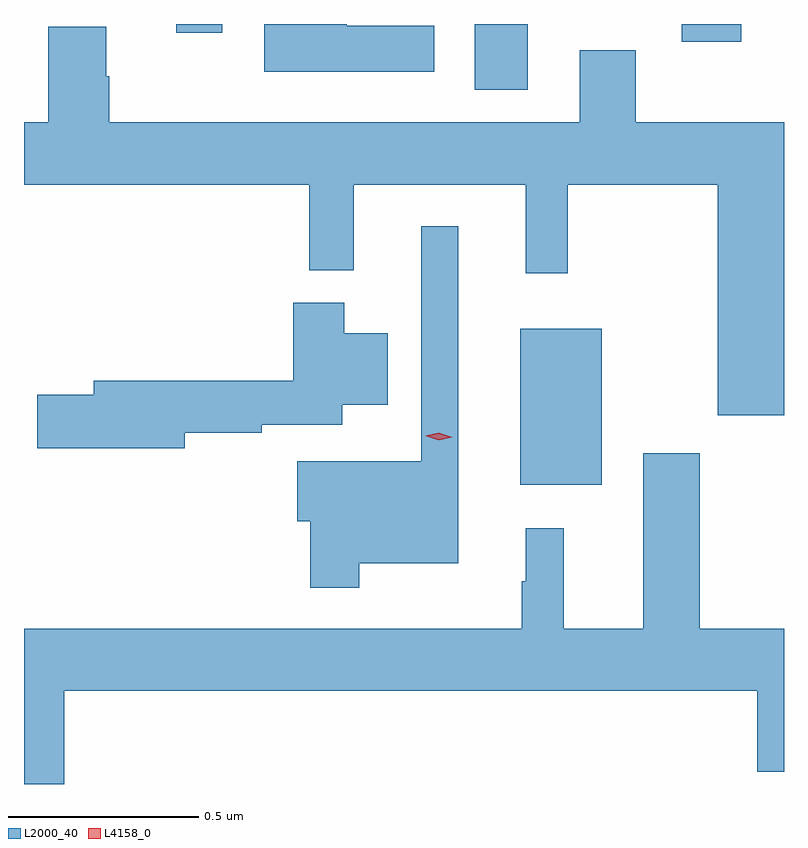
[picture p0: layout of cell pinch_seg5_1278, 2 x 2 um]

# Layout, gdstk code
import gdstk
lib = gdstk.Library(unit=1e-6, precision=1e-09)
def R(c, l, rs):  # rectangles x0, y0, x1, y1
    for r in rs: c.add(gdstk.rectangle(r[:2], r[2:], *l))
def P(c, l, *ps):  # polygons
    for p in ps: c.add(gdstk.Polygon(p, *l))
L2000_40 = (2000, 40)
L4158_0 = (4158, 0)

pinch_seg5_1278 = lib.new_cell('pinch_seg5_1278')
R(pinch_seg5_1278, L2000_40, [(403.259,903.923,403.474,904.333), (403.139,904.962,403.279,905.135), (403.684,905.088,403.84,905.135), (402.353,905.112,402.475,905.135)])
P(pinch_seg5_1278, L2000_40, [(403.033,905.131),(402.802,905.131),(402.802,905.135),(402.585,905.135),(402.585,905.009),(403.033,905.009)],
  [(402.177,904.997),(402.169,904.997),(402.169,905.128),(402.017,905.128),(402.017,904.876),(401.953,904.876),(401.953,904.712),(402.703,904.712),(402.703,904.487),(402.821,904.487),(402.821,904.712),(403.274,904.712),(403.274,904.479),(403.384,904.479),(403.384,904.712),(403.778,904.712),(403.778,904.106),(403.953,904.106),(403.953,904.876),(403.563,904.876),(403.563,905.066),(403.415,905.066),(403.415,904.876),(402.177,904.876)],
  [(402.835,903.716),(403.096,903.716),(403.096,904.603),(402.999,904.603),(402.999,903.985),(402.672,903.985),(402.672,903.827),(402.706,903.827),(402.706,903.651),(402.835,903.651)],
  [(402.376,904.06),(402.578,904.06),(402.578,904.08),(402.79,904.08),(402.79,904.133),(402.91,904.133),(402.91,904.321),(402.796,904.321),(402.796,904.402),(402.662,904.402),(402.662,904.196),(402.137,904.196),(402.137,904.16),(401.988,904.16),(401.988,904.018),(402.376,904.018)],
  [(402.059,903.38),(403.883,903.38),(403.883,903.167),(403.953,903.167),(403.953,903.544),(403.731,903.544),(403.731,904.006),(403.583,904.006),(403.583,903.544),(403.373,903.544),(403.373,903.808),(403.274,903.808),(403.274,903.668),(403.263,903.668),(403.263,903.544),(401.953,903.544),(401.953,903.135),(402.059,903.135)])
P(pinch_seg5_1278, L4158_0, [(403.044,904.04),(403.009,904.051),(403.009,904.052),(403.009,904.052),(403.045,904.06),(403.08,904.048),(403.08,904.047),(403.08,904.047)])

lib.write_gds('pinch_seg5_1278.gds')
